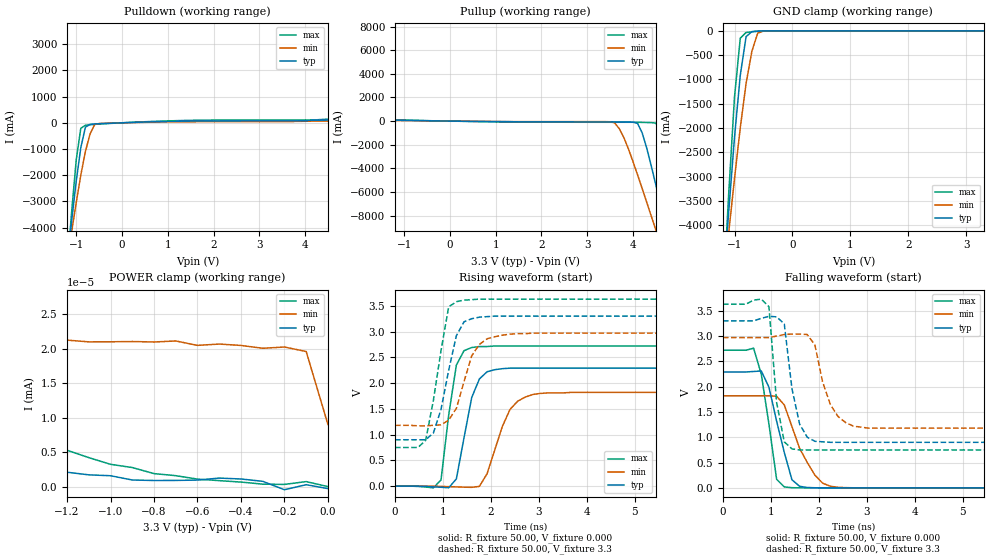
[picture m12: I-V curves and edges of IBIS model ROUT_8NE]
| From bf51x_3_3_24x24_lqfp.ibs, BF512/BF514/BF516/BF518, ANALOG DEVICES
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|   Model pupd_0408_25pad
[Model]   ROUT_8NE
Model_type   I/O
Polarity   Non-Inverting
Enable   Active-Low
Vinl =  0.40V
Vinh =   2.40V
Vmeas =   1.20V
Cref =  50.00pF
Rref =   1.00M
Vref =  0.000V
C_comp   6.15pF   6.10pF   6.20pF
[Temperature Range]   25.00   0.12k   -40.00
[Voltage Range]   3.30V   2.97V   3.63V
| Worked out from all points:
|   slope of the pulldown table from 0 to 0.495 V, typ, clamps not added: 16.8 ohm
|   slope of the pullup table from 0 to 0.495 V, typ, clamps not added: 19.4 ohm
|   GND clamp passes 1 mA (typ) near -0.47 V on its own axis
|   POWER clamp passes 1 mA (typ) near -3.01 V on its own axis
|   rising waveform, R_fixture 50.00, V_fixture 0.000: 20-80 % time 306ps typ, 420ps min, 237ps max; typ from 0 V to 2.29 V
|   rising waveform, R_fixture 50.00, V_fixture 3.3: 20-80 % time 334ps typ, 371ps min, 309ps max; typ from 0.9 V to 3.3 V
|   falling waveform, R_fixture 50.00, V_fixture 0.000: 20-80 % time 354ps typ, 499ps min, 253ps max; typ from 2.29 V to 0 V
|   falling waveform, R_fixture 50.00, V_fixture 3.3: 20-80 % time 240ps typ, 349ps min, 190ps max; typ from 3.3 V to 0.9 V
[Pulldown]
| voltage   I(typ)   I(min)   I(max)
-3.3V     -40.75A    -30.35A    -54.82A
-1.2V     -5.34A     -5.3A      -5.6A
-1.1V     -3.75A     -4.16A     -3.4A
-1V       -2.23A     -3.05A     -1.42A
-900mV    -950mA     -2A        -210mA
-800mV    -170mA     -1.1A      -94.55mA
-700mV    -59.48mA   -440mA     -75.3mA
-400mV    -26.81mA   -18.26mA   -35.3mA
6.2V      94.16mA    57.06mA    140mA
6.3V      96.47mA    58.35mA    320mA
6.5V      320mA      61.34mA    2.38A
6.6V      920mA      65.27mA    3.65A
[Pullup]
| voltage   I(typ)   I(min)   I(max)
-3.3V     820mA      2.27mA     7.93A
-2.8V     3.56mA     2.1mA      1.4A
-2.6V     3.47mA     2.05mA     17.54mA
3.6V      -70.61mA   -150mA     -100mA
3.8V      -72.15mA   -1.38A     -100mA
4.1V      -190mA     -4.54A     -100mA
4.3V      -2.27A     -6.86A     -120mA
4.5V      -5.4A      -9.21A     -170mA
4.6V      -7.03A     -10.39A    -980mA
4.7V      -8.69A     -11.58A    -2.82A
5V        -13.72A    -15.16A    -9.54A
6.6V      -40.83A    -34.38A    -47.14A
[GND_clamp]
| voltage   I(typ)   I(min)   I(max)
-3.3V     -40.76A    -30.35A    -54.82A
-1.2V     -5.32A     -5.3A      -5.55A
-1.1V     -3.72A     -4.15A     -3.35A
-1V       -2.19A     -3.04A     -1.36A
-900mV    -910mA     -1.99A     -150mA
-800mV    -120mA     -1.08A     -34.67mA
-700mV    -16.84mA   -420mA     -20.08mA
-600mV    -6.11mA    -48mA      -8.68mA
-500mV    -1.32mA    -4.87mA    -1.81mA
3.3V      -290pA     20.24nA    150pA
[POWER_clamp]
| voltage   I(typ)   I(min)   I(max)
-3.3V     810mA      270nA      7.93A
-2.6V     28.39nA    32.27nA    12.12mA
-2.3V     17.06nA    26.61nA    50.17nA
-2V       10.33nA    25.25nA    28.04nA
-1.7V     5.66nA     22.77nA    15.94nA
-1.4V     3nA        21.65nA    8.72nA
-1.2V     2.09nA     21.27nA    5.28nA
-800mV    890pA      21nA       1.89nA
-400mV    1.11nA     20.5nA     660pA
-200mV    -450pA     20.27nA    320pA
-100mV    280pA      19.62nA    730pA
0V        -290pA     9.03nA     4.59pA
[Ramp]
| variable   typ   min   max
dV/dt_r   1.40/0.28n   1.11/0.42n   1.66/0.21n
dV/dt_f   1.49/0.22n   1.12/0.34n   1.79/0.16n
R_load = 50.00
[Rising Waveform]
R_fixture = 50.00
V_fixture = 0.000
V_fixture_min = 0.000
V_fixture_max = 0.000
L_fixture = 0.000H
C_fixture = 0.000F
| time   V(typ)   V(min)   V(max)
0s        0V         0V         0V
800ps     -15.38mV   -1.18mV    -33.77mV
960ps     -21.82mV   -4.22mV    120mV
1.12ns    -32.71mV   -10.7mV    1.38V
1.28ns    140mV      -14.87mV   2.35V
1.6ns     1.72V      -23.52mV   2.69V
1.92ns    2.22V      240mV      2.71V
2.4ns     2.29V      1.49V      2.72V
2.88ns    2.29V      1.78V      2.72V
8ns       2.29V      1.82V      2.72V
[Rising Waveform]
R_fixture = 50.00
V_fixture = 3.3
V_fixture_min = 2.97
V_fixture_max = 3.63
L_fixture = 0.000H
C_fixture = 0.000F
| time   V(typ)   V(min)   V(max)
0s        900mV      1.18V      750mV
480ps     900mV      1.17V      750mV
640ps     900mV      1.17V      890mV
800ps     1.03V      1.18V      1.66V
960ps     1.49V      1.19V      2.63V
1.12ns    2.25V      1.28V      3.48V
1.28ns    2.92V      1.51V      3.58V
1.6ns     3.25V      2.53V      3.62V
2.08ns    3.3V       2.9V       3.63V
8ns       3.3V       2.97V      3.63V
[Falling Waveform]
R_fixture = 50.00
V_fixture = 0.000
V_fixture_min = 0.000
V_fixture_max = 0.000
L_fixture = 0.000H
C_fixture = 0.000F
| time   V(typ)   V(min)   V(max)
0s        2.29V      1.82V      2.72V
640ps     2.3V       1.82V      2.76V
800ps     2.31V      1.82V      2.25V
960ps     1.99V      1.82V      1.26V
1.12ns    1.32V      1.81V      170mV
1.28ns    700mV      1.64V      18.9mV
1.44ns    160mV      1.21V      3.37mV
1.6ns     30.38mV    780mV      670uV
2.24ns    200uV      32.38mV    15.48uV
8ns       -1.07uV    -750nV     410nV
[Falling Waveform]
R_fixture = 50.00
V_fixture = 3.3
V_fixture_min = 2.97
V_fixture_max = 3.63
L_fixture = 0.000H
C_fixture = 0.000F
| time   V(typ)   V(min)   V(max)
0s        3.3V       2.97V      3.63V
960ps     3.39V      2.97V      3.58V
1.12ns    3.38V      3V         1.69V
1.28ns    3.24V      3.03V      910mV
1.44ns    1.96V      3.04V      770mV
1.76ns    1V         3.03V      750mV
1.92ns    920mV      2.82V      750mV
2.24ns    900mV      1.65V      750mV
2.72ns    900mV      1.22V      750mV
8ns       900mV      1.18V      750mV
